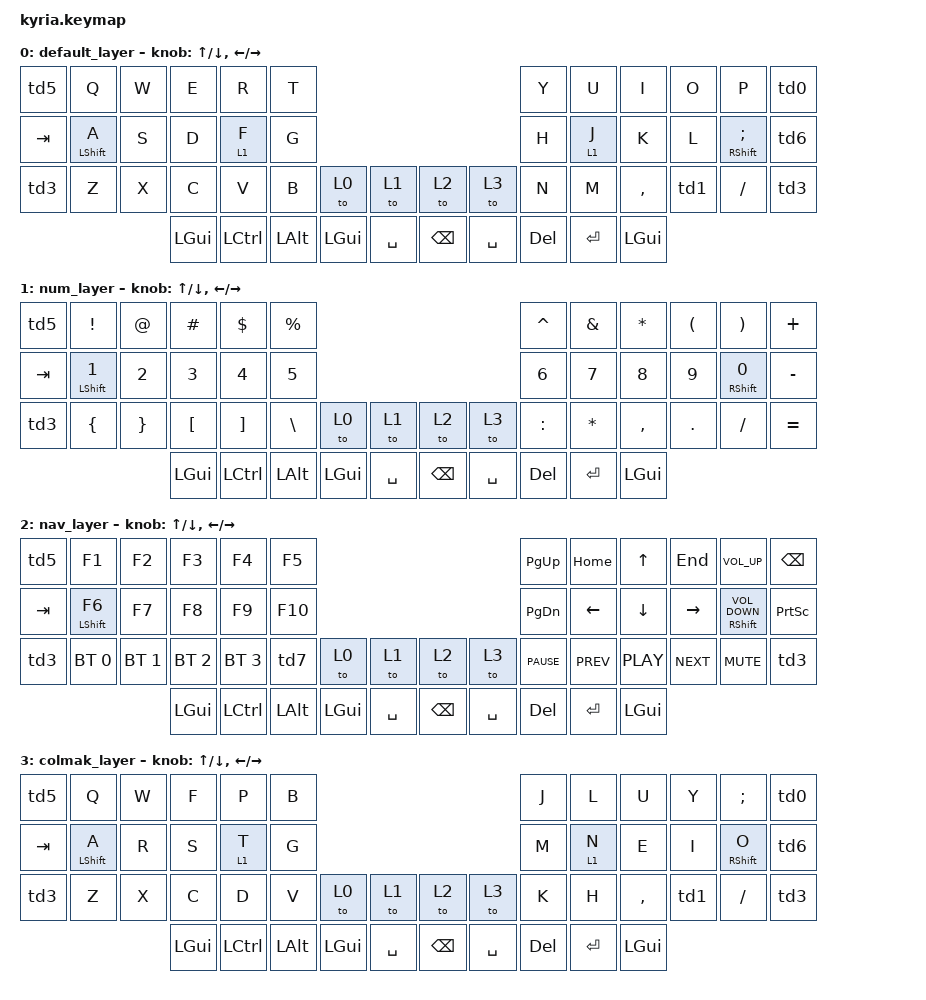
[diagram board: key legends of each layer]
/*
 * Copyright (c) 2020 The ZMK Contributors
 *
 * SPDX-License-Identifier: MIT
 * Can edit using https://nickcoutsos.github.io/keymap-editor/
 */

#include <behaviors.dtsi>
#include <dt-bindings/zmk/bt.h>
#include <dt-bindings/zmk/keys.h>
#include <dt-bindings/zmk/outputs.h>

&left_encoder { resolution = <2>; };

&right_encoder { resolution = <2>; };

#define DEFAULT 0
#define NUMLAYER 1
#define NAVLAYER 2
#define COLMAK 3

/ {
    behaviors {
        td0: tap_dance_0 {
            compatible = "zmk,behavior-tap-dance";
            label = "TAP_DANCE_0";
            #binding-cells = <0>;
            tapping-term-ms = <200>;
            bindings = <&kp LBKT>, <&kp RBKT>, <&kp BSLH>;
        };

        td1: tap_dance_1 {
            compatible = "zmk,behavior-tap-dance";
            label = "TAP_DANCE_1";
            #binding-cells = <0>;
            tapping-term-ms = <200>;
            bindings = <&kp DOT>, <&kp EXCL>;
        };

        td2: tap_dance_2 {
            compatible = "zmk,behavior-tap-dance";
            label = "TAP_DANCE_2";
            #binding-cells = <0>;
            tapping-term-ms = <200>;
            bindings = <&kp MINUS>, <&kp EQUAL>;
        };

        td3: tap_dance_3 {
            compatible = "zmk,behavior-tap-dance";
            label = "TAP_DANCE_3";
            #binding-cells = <0>;
            tapping-term-ms = <200>;
            bindings = <&kp LSHFT>, <&kp CAPS>;
        };

        td4: tap_dance_4 {
            compatible = "zmk,behavior-tap-dance";
            label = "TAP_DANCE_LAYERS";
            #binding-cells = <0>;
            tapping-term-ms = <200>;
            bindings = <&to 1>, <&to 2>, <&to 3>;
        };

        td5: tap_dance_5 {
            compatible = "zmk,behavior-tap-dance";
            label = "TAP_DANCE_GRAVE_ESC";
            #binding-cells = <0>;
            tapping-term-ms = <200>;
            bindings = <&kp ESC>, <&kp GRAVE>;
        };

        td6: tap_dance_6 {
            compatible = "zmk,behavior-tap-dance";
            label = "TAP_DANCE_SQT_MINUS";
            #binding-cells = <0>;
            tapping-term-ms = <200>;
            bindings = <&kp SQT>, <&kp MINUS>;
        };

        td7: tap_dance_7 {
            compatible = "zmk,behavior-tap-dance";
            label = "TAP_DANCE_OUT_TOG_BT_CLR";
            #binding-cells = <0>;
            tapping-term-ms = <200>;
            bindings = <&out BT4>, <&out OUT_TOG>, <&bt BT_CLR>;
        };
    };

    keymap {
        compatible = "zmk,keymap";

        default_layer {
            // ---------------------------------------------------------------------------------------------------------------------------------
            // |  ESC,`  |  Q  |  W  |  E   |  R   |  T   |                                          |  Y   |  U    |  I    |  O   |   P   |   [,],\  |
            // |  TAB  |  A  |  S  |  D   |  F   |  G   |                                          |  H   |  J    |  K    |  L   |   ;   |   ',-      |
            // | SHFT-CAPS |  Z  |  X  |  C   |  V   |  B   | DEFALT  | NUM_L  |  | FUNC_L    | COLMAK  |  N   |  M    |  ,    |  . ! |   /   | SHFT-CAPS |
            //                     | LGUI| LCTRL| LALT |  LGUI   |   SPACE |  |  BSPC   |  SPACE  | DEL  | RET   | LGUI |
            // ---------------------------------------------------------------------------------------------------------------------------------

            bindings = <
&td5     &kp Q             &kp W  &kp E     &kp R      &kp T                                               &kp Y    &kp U    &kp I      &kp O  &kp P                      &td0
&kp TAB  &mt LEFT_SHIFT A  &kp S  &kp D     &lt 1 F    &kp G                                               &kp H    &lt 1 J  &kp K      &kp L  &mt RIGHT_SHIFT SEMICOLON  &td6
&td3     &kp Z             &kp X  &kp C     &kp V      &kp B     &to 0     &to 1      &to 2     &to 3      &kp N    &kp M    &kp COMMA  &td1   &kp FSLH                   &td3
                                  &kp LGUI  &kp LCTRL  &kp LALT  &kp LGUI  &kp SPACE  &kp BSPC  &kp SPACE  &kp DEL  &kp RET  &kp LGUI
            >;

            sensor-bindings = <
				&inc_dec_kp UP_ARROW DOWN_ARROW 
				&inc_dec_kp LEFT_ARROW RIGHT_ARROW 
            >;
        };

        num_layer {
            // ---------------------------------------------------------------------------------------------------------------------------------
            // |  ESC,`   |  !  |  @  |  #   |  $   |  %   |                                                      |  ^   |  &    |  *    |  (   |   )  |  + |
            // |  TAB  |  1  |  2  |  3   |  4   |  5   |                                                      |  6   |  7    |  8    |  9   |   0  |   -  |
            // | SHFT-CAPS |  {  |  }  |  [   |  ]   |  \   | DEFALT  | NUM_L  |  | FUNC_L    | COLMAK  |  :   |  *    |  ,    |  .   |   /   |   =  |
            //                     | LGUI| LCTRL| LALT |  LGUI   |   SPACE |  |  BSPC   |  SPACE  | DEL  | RET   | LGUI |
            // ---------------------------------------------------------------------------------------------------------------------------------

            bindings = <
&td5     &kp EXCL                 &kp AT    &kp POUND  &kp DLLR   &kp PRCNT                                            &kp CARET  &kp AMPS  &kp STAR   &kp LPAR  &kp RPAR            &kp PLUS
&kp TAB  &mt LEFT_SHIFT NUMBER_1  &kp N2    &kp N3     &kp N4     &kp N5                                               &kp N6     &kp N7    &kp N8     &kp N9    &mt RIGHT_SHIFT N0  &kp MINUS
&td3     &kp LBRC                 &kp RBRC  &kp LBKT   &kp RBKT   &kp BSLH   &to 0     &to 1      &to 2     &to 3      &kp COLON  &kp STAR  &kp COMMA  &kp DOT   &kp FSLH            &kp EQUAL
                                            &kp LGUI   &kp LCTRL  &kp LALT   &kp LGUI  &kp SPACE  &kp BSPC  &kp SPACE  &kp DEL    &kp RET   &kp LGUI
            >;

            sensor-bindings = <
				&inc_dec_kp UP_ARROW DOWN_ARROW 
				&inc_dec_kp LEFT_ARROW RIGHT_ARROW 
            >;
        };

        nav_layer {
            // ---------------------------------------------------------------------------------------------------------------------------------
            // |  ESC,`       |  F1 |  F2 |  F3  |  F4  |  F5  |                                                |  PG_UP  |  HOME |  UP   |  END  |   C_VOL_UP | BSPC  |
            // |  TAB      |  F6 |  F7 |  F8  |  F9  |  F10 |                                                |  PG_DN  |  LEFT |  DOWN | RIGHT |   C_VOL_DN |   PSCRN  |
            // | SHFT-CAPS |  BT0  |  BT1  |  BT2   |  BT3   |  OUT_TOG,BT_CLR   | DEFALT  | NUM_L  |  | FUNC_L    | COLMAK  |  C_PAUSE   |  C_PREV    |  C_PLAY    |  C_NEXT   |   C_MUTE |  SHFT-CAPS  |
            //                            | LGUI| LCTRL| LALT |  LGUI   |   SPACE |  |  BSPC   |  SPACE  | DEL  | RET   | LGUI |
            // ---------------------------------------------------------------------------------------------------------------------------------

            bindings = <
&td5     &kp F1             &kp F2        &kp F3        &kp F4        &kp F5                                              &kp PG_UP    &kp HOME    &kp UP      &kp END     &kp C_VOL_UP                   &kp BSPC
&kp TAB  &mt LEFT_SHIFT F6  &kp F7        &kp F8        &kp F9        &kp F10                                             &kp PG_DN    &kp LEFT    &kp DOWN    &kp RIGHT   &mt RIGHT_SHIFT C_VOLUME_DOWN  &kp PSCRN
&td3     &bt BT_SEL 0       &bt BT_SEL 1  &bt BT_SEL 2  &bt BT_SEL 3  &td7      &to 0     &to 1      &to 2     &to 3      &kp C_PAUSE  &kp C_PREV  &kp C_PLAY  &kp C_NEXT  &kp C_MUTE                     &td3
                                          &kp LGUI      &kp LCTRL     &kp LALT  &kp LGUI  &kp SPACE  &kp BSPC  &kp SPACE  &kp DEL      &kp RET     &kp LGUI
            >;

            sensor-bindings = <
				&inc_dec_kp UP_ARROW DOWN_ARROW 
				&inc_dec_kp LEFT_ARROW RIGHT_ARROW 
            >;
        };

        colmak_layer {
            // ---------------------------------------------------------------------------------------------------------------------------------
            // |  ESC,`  |  q  |  W  |  F   |  P   |  B   |                                          |  J   |  L    |  U    |  Y   |   ;   |   [,],\  |
            // |  TAB  |  A  |  R  |  S   |  T   |  G   |                                          |  M   |  N    |  E    |  I   |   O   |   ',-      |
            // | SHFT-CAPS |  Z  |  X  |  C   |  D   |  V   | DEFALT  | NUM_L  |  | FUNC_L    | COLMAK  |  K   |  H    |  ,    |  . ! |   /   | SHFT-CAPS |
            //                     | LGUI| LCTRL| LALT |  LGUI   |   SPACE |  |  BSPC   |  SPACE  | DEL  | RET   | LGUI |
            // ---------------------------------------------------------------------------------------------------------------------------------

            bindings = <
&td5     &kp Q             &kp W  &kp F     &kp P      &kp B                                               &kp J    &kp L    &kp U      &kp Y  &kp SEMI           &td0
&kp TAB  &mt LEFT_SHIFT A  &kp R  &kp S     &lt 1 T    &kp G                                               &kp M    &lt 1 N  &kp E      &kp I  &mt RIGHT_SHIFT O  &td6
&td3     &kp Z             &kp X  &kp C     &kp D      &kp V     &to 0     &to 1      &to 2     &to 3      &kp K    &kp H    &kp COMMA  &td1   &kp FSLH           &td3
                                  &kp LGUI  &kp LCTRL  &kp LALT  &kp LGUI  &kp SPACE  &kp BSPC  &kp SPACE  &kp DEL  &kp RET  &kp LGUI
            >;

            sensor-bindings = <
				&inc_dec_kp UP_ARROW DOWN_ARROW 
				&inc_dec_kp LEFT_ARROW RIGHT_ARROW 
            >;
        };
    };
};
